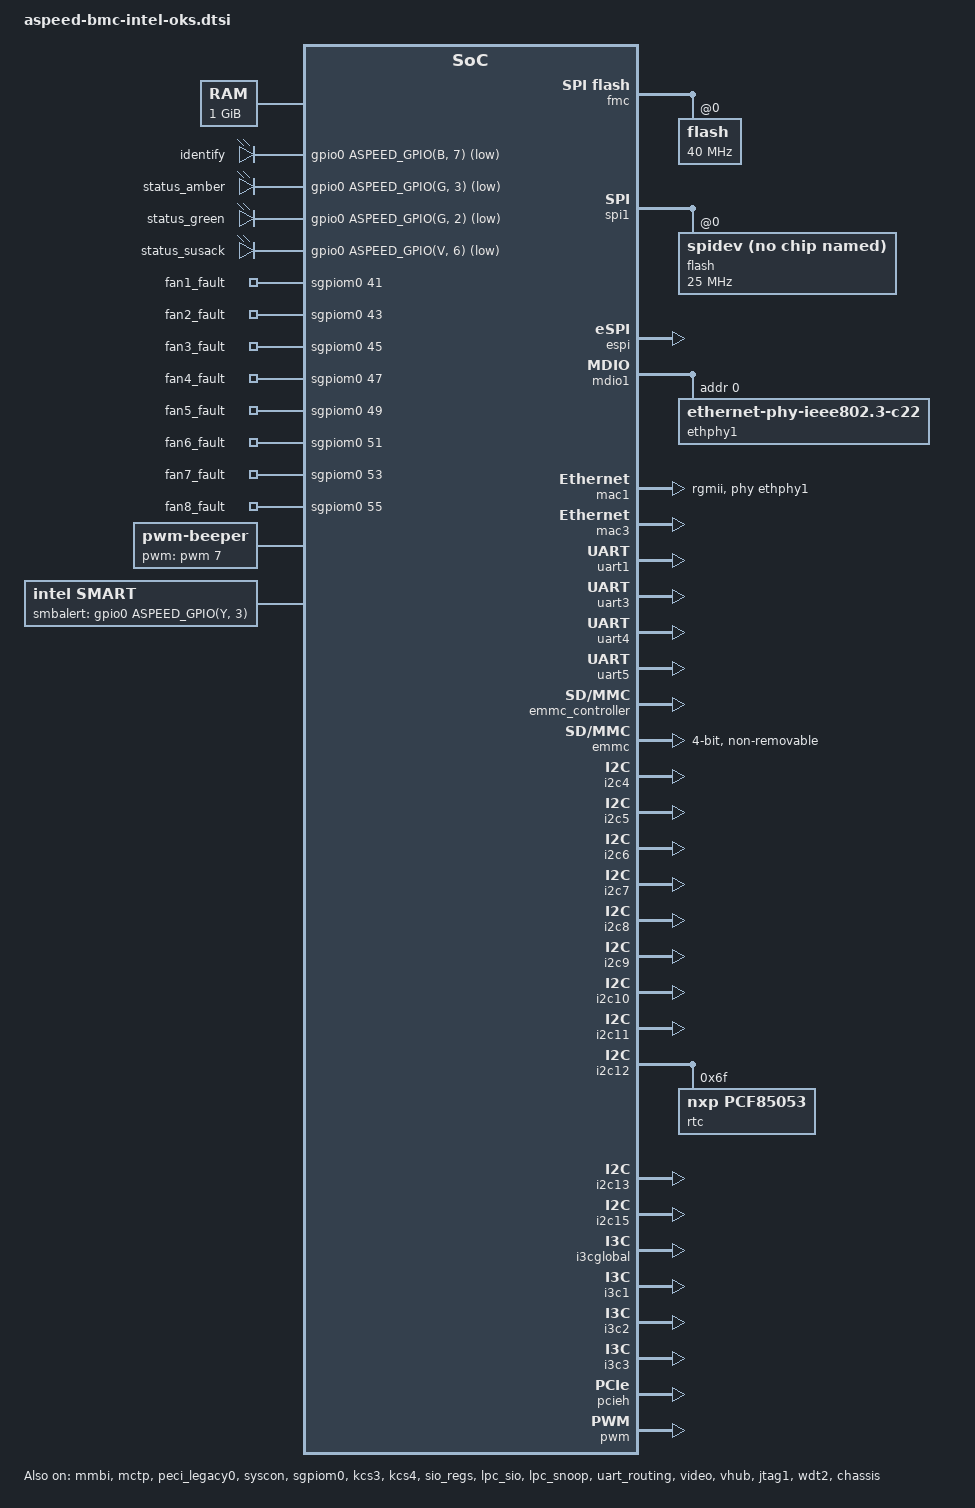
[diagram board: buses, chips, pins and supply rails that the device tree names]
// SPDX-License-Identifier: GPL-2.0+
/dts-v1/;

#include "aspeed-g6.dtsi"
#include <dt-bindings/gpio/aspeed-gpio.h>
#include <dt-bindings/i2c/i2c.h>

/ {
	chosen {
		stdout-path = &uart5;
		bootargs = "console=ttyS4,115200n8 root=/dev/ram rw init=/linuxrc earlyprintk";
	};

	memory@80000000 {
		device_type = "memory";
		reg = <0x80000000 0x40000000>;
	};

	reserved-memory {
		#address-cells = <1>;
		#size-cells = <1>;
		ranges;

		video_engine_memory: jpegbuffer {
			size = <0x02000000>;	/* 32M */
			alignment = <0x01000000>;
			compatible = "shared-dma-pool";
			reusable;
		};

		video_memory: video {
			size = <0x04000000>;
			alignment = <0x01000000>;
			compatible = "shared-dma-pool";
			no-map;
		};

		espi_mmbi_memory: espi_mmbi_memory {
			no-map;
			reg = <0x9EFF0000 0x10000>; /* 64K */
		};
	};

	vga-shared-memory {
		compatible = "aspeed,ast2500-vga-sharedmem";
		reg = <0x9f700000 0x100000>;
	};

	leds {
		compatible = "gpio-leds";

		identify {
			default-state = "off";
			gpios = <&gpio0 ASPEED_GPIO(B, 7) GPIO_ACTIVE_LOW>;
		};

		status_amber {
			default-state = "off";
			gpios = <&gpio0 ASPEED_GPIO(G, 3) GPIO_ACTIVE_LOW>;
		};

		status_green {
			default-state = "keep";
			gpios = <&gpio0 ASPEED_GPIO(G, 2) GPIO_ACTIVE_LOW>;
		};

		status_susack {
			default-state = "off";
			gpios = <&gpio0 ASPEED_GPIO(V, 6) GPIO_ACTIVE_LOW>;
		};

		fan1_fault {
			default-state = "off";
			gpios = <&sgpiom0 41 GPIO_ACTIVE_HIGH>;
		};

		fan2_fault {
			default-state = "off";
			gpios = <&sgpiom0 43 GPIO_ACTIVE_HIGH>;
		};

		fan3_fault {
			default-state = "off";
			gpios = <&sgpiom0 45 GPIO_ACTIVE_HIGH>;
		};

		fan4_fault {
			default-state = "off";
			gpios = <&sgpiom0 47 GPIO_ACTIVE_HIGH>;
		};

		fan5_fault {
			default-state = "off";
			gpios = <&sgpiom0 49 GPIO_ACTIVE_HIGH>;
		};

		fan6_fault {
			default-state = "off";
			gpios = <&sgpiom0 51 GPIO_ACTIVE_HIGH>;
		};

		fan7_fault {
			default-state = "off";
			gpios = <&sgpiom0 53 GPIO_ACTIVE_HIGH>;
		};

		fan8_fault {
			default-state = "off";
			gpios = <&sgpiom0 55 GPIO_ACTIVE_HIGH>;
		};
	};

	beeper {
		compatible = "pwm-beeper";
		pwms = <&pwm 7 1000000 0>;
	};

	smart {
		compatible = "intel,smart";
		status = "okay";
		smbalert-gpio = <&gpio0 ASPEED_GPIO(Y, 3) GPIO_ACTIVE_HIGH>;
	};

};

&fmc {
	status = "okay";
	flash@0 {
		status = "okay";
		spi-max-frequency = <40000000>;
		spi-rx-bus-width = <4>;
		spi-tx-bus-width = <4>;
		m25p,fast-read;
#include "openbmc-flash-layout-intel-oks-128MB.dtsi"
	};
};

/* SPI1 controller - BIOS SPI flash */
&spi1 {
	status = "okay";
	flash@0 {
		status = "okay";
		/*
		 * TODO: using BHS limits for possible development on N-1
		 */
		spi-max-frequency = <25000000>; /* 25MHz */
		spi-rx-bus-width = <1>;
		spi-tx-bus-width = <1>;

		/*
		 * It makes an entry in sysfs which will later be
		 * changed to real spi-nor driver on need basis.
		 */
		compatible = "spidev";
	};
};

&espi {
	status = "okay";
};

&vwgpio {
	gpio-count = <32>;
	gpio-names-mask = <0x000001F1>;
	gpio-dir-mask = <0x00000FF0>;
	gpio-names = "VW_FM_BIOS_POST_CMPLT_N",
		"VW_FM_DUAL_PARTITION_N", "VW_FM_STANDALONE_MODE_N",
		"VW_FM_4S_8S_N_MODE", "VW_FM_NODE_ID_1", "VW_FM_NODE_ID_0";
	status = "okay";
};

&mmbi {
	status = "okay";

	host-map-addr = <0xF6810000>;
	memory-region = <&espi_mmbi_memory>;
};

&mctp {
	status = "okay";
};

&peci_legacy0 {
	status = "okay";
};

&syscon {
	status = "okay";

	mac1-clk-delay = <0x1f 0x10
			  0x10 0x10
			  0x10 0x10>;

	misc_control {
		compatible = "aspeed,bmc-misc";
		uart_port_debug {
			offset = <0xc8>;
			bit-mask = <0x1>;
			bit-shift = <1>;
			read-only;
		};

		uart1_port_debug {
			offset = <0xd8>;
			bit-mask = <0x1>;
			bit-shift = <3>;
			read-only;
		};

		p2a-bridge {
			offset = <0xC20>;
			bit-mask = <0x1>;
			bit-shift = <1>;
			read-only;
		};

		boot-2nd-flash {
			offset = <0x500>;
			bit-mask = <0x1>;
			bit-shift = <31>;
			read-only;
		};

		chip_id {
			offset = <0x5b0>;
			bit-mask = <0xffffffff 0xffffffff>;
			bit-shift = <0>;
			read-only;
			reg-width = <64>;
			hash-data = "d44f9b804976fa23c2e25d62f16154d26520a7e24c5555095fd1b55c027804f1570dcd16189739c640cd7d9a6ce14944a2c4eaf1dc429eed6940e8a83498a474";
		};

		silicon_id {
			offset = <0x14>;
			bit-mask = <0xffffffff>;
			bit-shift = <0>;
			read-only;
			reg-width = <32>;
		};
	};
};

#if 0
 GPIO Alias: (runtime alias -> schematic name)
	ID_BUTTON -> FP_ID_BTN_N
	CPU_CATERR -> FM_CPU_CATERR_N
	PCH_BMC_THERMTRIP -> FM_PLT_BMC_THERMTRIP_N
	RESET_BUTTON -> FP_BMC_RST_BTN_N
	RESET_OUT -> RST_BMC_RSTBTN_OUT_R_N
	POWER_BUTTON -> FP_PWR_BTN_N
	POWER_OUT -> FM_BMC_PWR_BTN_N
	PREQ_N -> DBP_ASD_BMC_PREQ_R_N
	POST_COMPLETE -> FM_BIOS_POST_CMPLT_BMC_N
	CPU_ERR0 -> FM_CPU0_ERR0_LVC3_N
	CPU_ERR1 -> FM_CPU0_ERR1_LVC3_N
	CPU_ERR2 -> FM_CPU0_ERR2_LVC3_N
	DEBUG_EN_N -> FM_JTAG_TCK_MUX_SEL_R
	PLTRST_N -> RST_PLTRST_BMC_N
	PRDY_N -> DBP_ASD_BMC_PRDY_R_N
	PWR_DEBUG_N ->
	XDP_PRST_N ->
	SYSPWROK ->
	RSMRST_N ->
	SIO_S3 -> FM_SLPS3_R_N
	SIO_S5 -> FM_SLPS4_R_N
	SIO_ONCONTROL -> FM_BMC_ONCTL_R_N
	SIO_POWER_GOOD -> PWRGD_CPU0_LVC3_R
	PS_PWROK -> PWRGD_BMC_PS_PWROK_R
	P3VBAT_BRIDGE_EN ->
	TCK_MUX_SEL ->
	NMI_BUTTON -> FP_NMI_BTN_N
#endif
&gpio0 {
	status = "okay";
	gpio-line-names =
	/*A0-A7*/	"","","","","SMB_CPU_PIROM_SCL","SMB_CPU_PIROM_SDA","SMB_IPMB_STBY_LVC3_SCL","SMB_IPMB_STBY_LVC3_SDA",
	/*B0-B7*/	"","","","FM_CPU1_ERR2_LVT3_N","RGMII_BMC_RMM4_LVC3_R_MDC","RGMII_BMC_RMM4_LVC3_R_MDIO","FM_BMC_BMCINIT_R","FP_ID_LED_N",
	/*C0-C7*/	"FM_FORCE_BMC_UPDATE_N","RST_RGMII_PHYRST_N","FM_TPM_EN_PULSE","","","","FM_CPU1_ERR0_LVT3_N","FM_CPU1_ERR1_LVT3_N",
	/*D0-D7*/	"CPU_ERR0","CPU_ERR1","CPU_ERR2","PRDY_N","FM_SPD_SWITCH_CTRL_N","","","",
	/*E0-E7*/	"FM_SKT1_FAULT_LED","FM_SKT0_FAULT_LED","CLK_50M_CKMNG_BMCB","ID_BUTTON","","","","",
	/*F0-F7*/	"","FM_DUAL_PARTITION_MODE_N","FM_STANDALONE_MODE_N","FM_4S_8S_N_MODE","FM_NODE_ID0","FM_NODE_ID1","","",
	/*G0-G7*/	"FM_SMB_BMC_NVME_LVC3_ALERT_N","RST_BMC_HSBP_MUX_N","FP_LED_STATUS_GREEN_N","FP_LED_STATUS_AMBER_N","PS_PWROK","FM_PARTITION_SEL","FM_BMC_CPU_FBRK_OUT_R_N","DBP_PRESENT_IN_R2_N",
	/*H0-H7*/	"SGPIO_BMC_CLK_R","SGPIO_BMC_LD_R","SGPIO_BMC_DOUT_R","SGPIO_BMC_DIN","PLTRST_N","CPU_CATERR","","",
	/*I0-I7*/	"","JTAG_ASD_TDI_R","JTAG_ASD_TCK_R","JTAG_ASD_TMS_R","JTAG_ASD_TDO","FM_BMC_PWRBTN_OUT_R_N","FM_BMC_PWR_BTN_N","",
	/*J0-J7*/	"","","","","","","","",
	/*K0-K7*/	"","","","","","","","",
	/*L0-L7*/	"","","","","PREQ_N","TCK_MUX_SEL","","",
	/*M0-M7*/	"","","","","","","SPA_SOUT","SPA_SIN",
	/*N0-N7*/	"","","","","","","SPB_SOUT","SPB_SIN",
	/*O0-O7*/	"","","","","","","NMI_BUTTON","SPEAKER_BMC_R",
	/*P0-P7*/	"RESET_BUTTON","RESET_OUT","POWER_BUTTON","POWER_OUT","","","","LED_BMC_HB_LED_N",
	/*Q0-Q7*/	"","","","","","","","",
	/*R0-R7*/	"","","","","","","","",
	/*S0-S7*/	"RST_BMC_PCIE_MUX_N","FM_BMC_TRUST_N","FM_BMC_FRU_WP_N","","PWRGD_CPU0_AUXPWRGD","A_P3V_BAT_SCALED_EN","REMOTE_DEBUG_ENABLE","",
	/*T0-T7*/	"","","","","","","","",
	/*U0-U7*/	"","","","","","","","",
	/*V0-V7*/	"SIO_S3","SIO_S5","","SIO_ONCONTROL","SIO_POWER_GOOD","","","",
	/*W0-W7*/	"LPC_LAD0_ESPI_R_IO0","LPC_LAD1_ESPI_R_IO1","LPC_LAD2_ESPI_R_IO2","LPC_LAD3_ESPI_R_IO3","CLK_24M_66M_LPC0_ESPI_BMC","LPC_LFRAME_N_ESPI_CS0_BMC_N","IRQ_LPC_SERIRQ_ESPI_ALERT_N","RST_LPC_LRST_ESPI_RST_BMC_R_N",
	/*X0-X7*/	"","","PCH_BMC_THERMTRIP","","","","","",
	/*Y0-Y7*/	"FM_BMC_CMOS_CLR_R_N","","FM_BMC_SAFS_EN","IRQ_SML1_PMBUS_BMC_ALERT_N","SPI_BMC_BOOT_R_IO2","SPI_BMC_BOOT_R_IO3","PU_SPI_BMC_BOOT_ABR","PU_SPI_BMC_BOOT_WP_N",
	/*Z0-Z7*/	"","","","HW_STRAP_5","HW_STRAP_6","HW_STRAP_7","HW_STRAP_2","HW_STRAP_3";

};

&gpio1 {
	status = "okay";
	gpio-line-names = /* GPIO18 A-E */
	/*A0-A7*/	"","","RST_EMMC_BMC_R_N","","","","","",
	/*B0-B7*/	"","","","","RGMII_BMC_RMM4_TX_R_CLK","RGMII_BMC_RMM4_TX_R_CTRL","RGMII_BMC_RMM4_R_TXD0","RGMII_BMC_RMM4_R_TXD1",
	/*C0-C7*/	"RGMII_BMC_RMM4_R_TXD2","RGMII_BMC_RMM4_R_TXD3","RGMII_BMC_RMM4_RX_CLK","RGMII_BMC_RMM4_RX_CTRL","RGMII_BMC_RMM4_RXD0","RGMII_BMC_RMM4_RXD1","RGMII_BMC_RMM4_RXD2","RGMII_BMC_RMM4_RXD3",
	/*D0-D7*/	"EMMC_BMC_R_CLK","EMMC_BMC_R_CMD","EMMC_BMC_R_DATA0","EMMC_BMC_R_DATA1","EMMC_BMC_R_DATA2","EMMC_BMC_R_DATA3","EMMC_BMC_CD_N","EMMC_BMC_WP_N",
	/*E0-E3*/	"EMMC_BMC_R_DATA4","EMMC_BMC_R_DATA5","EMMC_BMC_R_DATA6","EMMC_BMC_R_DATA7";
};

&sgpiom0 {
	ngpios = <128>;
	bus-frequency = <2000000>;
	status = "okay";
#if 0
 SGPIO Alias: (runtime alias -> net name)
	CPU1_PRESENCE -> FM_CPU0_SKTOCC_LVT3_N
	CPU1_THERMTRIP -> H_CPU0_THERMTRIP_LVC1_N
	CPU1_VRHOT -> IRQ_CPU0_VRHOT_N
	CPU1_MEM_VRHOT -> IRQ_CPU0_MEM_VRHOT_N
	CPU1_MEM_THERM_EVENT -> H_CPU0_MEMHOT_OUT_LVC1_N
	CPU1_MISMATCH -> FM_CPU0_MISMATCH
	CPU2_PRESENCE -> FM_CPU1_SKTOCC_LVT3_N
	CPU2_THERMTRIP -> H_CPU1_THERMTRIP_LVC1_N
	CPU2_VRHOT -> IRQ_CPU1_VRHOT_N
	CPU2_MEM_VRHOT -> IRQ_CPU1_MEM_VRHOT_N
	CPU2_MEM_THERM_EVENT -> H_CPU1_MEMHOT_OUT_LVC1_N
	CPU2_MISMATCH -> FM_CPU1_MISMATCH
#endif
	/* SGPIO lines. even: input, odd: output */
	gpio-line-names =
	/*A, 0-7*/	"CPU1_PRESENCE","","CPU1_THERMTRIP","","CPU1_VRHOT","","H_CPU0_MON_FAIL_LVC1_N","","CPU1_MEM_VRHOT","","CPU1_MEM_THERM_EVENT","","FM_CPU0_PROC_ID0","","FM_CPU0_PROC_ID1","",
	/*B, 8-15*/	"CPU1_MISMATCH","LED_CPU1_CH1_DIMM1_FAULT","","LED_CPU1_CH1_DIMM2_FAULT","CPU2_PRESENCE","LED_CPU1_CH2_DIMM1_FAULT","CPU2_THERMTRIP","LED_CPU1_CH2_DIMM2_FAULT","CPU2_VRHOT","LED_CPU1_CH3_DIMM1_FAULT","H_CPU1_MON_FAIL_LVC1_N","LED_CPU1_CH3_DIMM2_FAULT","CPU2_MEM_VRHOT","LED_CPU1_CH4_DIMM1_FAULT","CPU2_MEM_THERM_EVENT","LED_CPU1_CH4_DIMM2_FAULT",
	/*C, 16-23*/	"FM_CPU1_PROC_ID0","LED_CPU1_CH5_DIMM1_FAULT","FM_CPU1_PROC_ID1","LED_CPU1_CH5_DIMM2_FAULT","CPU2_MISMATCH","LED_CPU1_CH6_DIMM1_FAULT","","LED_CPU1_CH6_DIMM2_FAULT","","LED_FAN1_FAULT","","LED_FAN2_FAULT","","LED_FAN3_FAULT","","LED_FAN4_FAULT",
	/*D, 24-31*/	"","LED_FAN5_FAULT","","LED_FAN6_FAULT","","LED_FAN7_FAULT","","LED_FAN8_FAULT","","LED_CPU2_CH1_DIMM1_FAULT","","LED_CPU2_CH1_DIMM2_FAULT","","LED_CPU2_CH2_DIMM1_FAULT","","LED_CPU2_CH2_DIMM2_FAULT",
	/*E, 32-39*/	"","LED_CPU2_CH3_DIMM1_FAULT","","LED_CPU2_CH3_DIMM2_FAULT","","LED_CPU2_CH4_DIMM1_FAULT","","LED_CPU2_CH4_DIMM2_FAULT","","LED_CPU2_CH5_DIMM1_FAULT","","LED_CPU2_CH5_DIMM2_FAULT","","LED_CPU2_CH6_DIMM1_FAULT","CPU1_CPLD_CRC_ERROR","LED_CPU2_CH6_DIMM2_FAULT",
	/*F, 40-47*/	"CPU2_CPLD_CRC_ERROR","","CPU1_CATERR_IERR","","CPU1_CATERR_MCERR","","CPU2_CATERR_IERR","","CPU2_CATERR_MCERR","","","","","","","",
	/*G, 48-55*/	"MAIN_PLD_MINOR_REV_BIT0","","MAIN_PLD_MINOR_REV_BIT1","","MAIN_PLD_MINOR_REV_BIT2","","MAIN_PLD_MINOR_REV_BIT3","","MAIN_PLD_MAJOR_REV_BIT0","","MAIN_PLD_MAJOR_REV_BIT1","","MAIN_PLD_MAJOR_REV_BIT2","","MAIN_PLD_MAJOR_REV_BIT3","",
	/*H, 56-63*/	"","","WMEMX_PWR_FLT","","WCPUX_MEM_PWR_FLT","","PWRGD_P3V3_FF","","WPSU_PWR_FLT","","","","","","WPCH_PWR_FLT","",
	/*I, 64-71*/	"FM_CPU0_PKGID0","LED_CPU1_CH7_DIMM1_FAULT","FM_CPU0_PKGID1","LED_CPU1_CH7_DIMM2_FAULT","FM_CPU0_PKGID2","LED_CPU1_CH8_DIMM1_FAULT","H_CPU0_MEMTRIP_LVC1_N","LED_CPU1_CH8_DIMM2_FAULT","FM_CPU1_PKGID0","LED_CPU2_CH7_DIMM1_FAULT","FM_CPU1_PKGID1","LED_CPU2_CH7_DIMM2_FAULT","FM_CPU1_PKGID2","LED_CPU2_CH8_DIMM1_FAULT","H_CPU1_MEMTRIP_LVC1_N","LED_CPU2_CH8_DIMM2_FAULT",
	/*J, 72-79*/	"","","","","","","","","","","","","","","","",
	/*K, 80-87*/	"FM_BOARD_REV_ID0","LED_CPU0_CH9_DIMM1_FAULT","FM_BOARD_REV_ID1","LED_CPU0_CH9_DIMM2_FAULT","FM_BOARD_REV_ID2","LED_CPU0_CH10_DIMM1_FAULT","FM_BOARD_SKU_ID0","LED_CPU0_CH10_DIMM2_FAULT","FM_BOARD_SKU_ID1","LED_CPU0_CH11_DIMM1_FAULT","FM_BOARD_SKU_ID2","LED_CPU0_CH11_DIMM2_FAULT","FM_BOARD_SKU_ID3","LED_CPU0_CH12_DIMM1_FAULT","FM_BOARD_SKU_ID4","LED_CPU0_CH12_DIMM2_FAULT",
	/*L, 88-95*/	"FM_BOARD_SKU_ID5","LED_CPU1_CH9_DIMM1_FAULT","FM_BMC_VAL_EN","LED_CPU1_CH9_DIMM2_FAULT","FM_SERIAL_BOOT","LED_CPU1_CH10_DIMM1_FAULT","","LED_CPU1_CH10_DIMM2_FAULT","S0_PWROK","LED_CPU1_CH11_DIMM1_FAULT","","LED_CPU1_CH11_DIMM2_FAULT","","LED_CPU1_CH12_DIMM1_FAULT","","LED_CPU1_CH12_DIMM1_FAULT",
	/*M, 96-103*/	"","FM_SURPRISE_RESET_N","","FM_CPU1_INTR_CLK_CONFDONE_N","","FM_GLOBAL_RESET_N","FM_1200VA_OC","BMC_BOOT_DONE","","IRQ_BMC_CPU_NMI_P0","","IRQ_BMC_CPU_NMI_P1","","","","",
	/*N, 104-111*/	"","","","","","","","","","","","","","","","",
	/*O, 112-119*/	"R1S_PRESENCE","","","","","","","","","","","","","","","",
	/*P, 120-127*/	"","","","","","","","","","","","","","","","";
};

&kcs3 {
	aspeed,lpc-io-reg = <0xCA2>;
	status = "okay";
};

&kcs4 {
	aspeed,lpc-io-reg = <0xCA4>;
	status = "okay";
};

&sio_regs {
	status = "okay";
	sio_status {
		offset = <0x10C>;
		bit-mask = <0x1F>;
		bit-shift = <4>;
	};
	sio29_status {
		offset = <0x170>;
		bit-mask = <0xFF>;
		bit-shift = <8>;
	};
};

&lpc_sio {
	status = "okay";
};

&lpc_snoop {
	snoop-ports = <0x80>;
	status = "okay";
};

&mbox {
	status = "okay";
};

&mdio1 {
	status = "okay";

	ethphy1: ethernet-phy@0 {
		compatible = "ethernet-phy-ieee802.3-c22";
		reg = <0>;
	};
};

&mac1 {
	status = "okay";
	pinctrl-names = "default";
	pinctrl-0 = <&pinctrl_rgmii2_default>;
	clocks = <&syscon ASPEED_CLK_GATE_MAC2CLK>,
		 <&syscon ASPEED_CLK_MAC2RCLK>;
	clock-names = "MACCLK", "RCLK";
	phy-mode = "rgmii";
	phy-handle = <&ethphy1>;
};

&mac3 {
	status = "okay";
	use-ncsi;
	pinctrl-names = "default";
	pinctrl-0 = <&pinctrl_rmii4_default>;
	clocks = <&syscon ASPEED_CLK_GATE_MAC4CLK>,
		 <&syscon ASPEED_CLK_MAC4RCLK>;
	clock-names = "MACCLK", "RCLK";
};

&uart1 {
	/* Only host uses this via SUART but must be enabled in BMC devicetree
	 * to prevent clock gating.
	 */
	status = "okay";
};

&uart3 {
	status = "okay";
	/* We don't use IO3 - this is routed to UART1 */
	pinctrl-0 = <>;
};

&uart4 {
	status = "okay";
	/* We don't use IO4 - this is routed to IO1 */
	pinctrl-0 = <>;
};

&uart5 {
	status = "okay";
};

&uart_routing {
	status = "okay";
};

&emmc_controller{
	status = "okay";
};

&emmc {
	non-removable;
	bus-width = <4>;
	max-frequency = <52000000>;
};

&i2c4 {
	/* SMB_HSBP_STBY_LVC3_R */
	multi-master;
	aspeed,hw-timeout-ms = <300>;
	status = "okay";
};

&i2c5 {
	/* SMB_PMBUS2_STBY_LVC3 */
	multi-master;
	aspeed,hw-timeout-ms = <300>;
	#retries = <3>;
	status = "okay";
};

&i2c6 {
	/* SMB_TEMPSENSOR_STBY_LVC3_R */
	multi-master;
	aspeed,hw-timeout-ms = <300>;
	status = "okay";
};

&i2c7 {
	/* SMB_PMBUS_SML1_STBY_LVC3_R */
	multi-master;
	#retries = <3>;
	aspeed,hw-timeout-ms = <300>;
	status = "okay";
};

&i2c8 {
	/* SMB_HOST_STBY_BMC */
	multi-master;
	aspeed,hw-timeout-ms = <300>;
	status = "okay";
};

&i2c9 {
	/* SMB_PCIE_STBY_LVC3 */
	multi-master;
	aspeed,hw-timeout-ms = <300>;
	status = "okay";
};

&i2c10 {
	/* SMB_BMC_SCM_LVC3 */
	status = "okay";
};

&i2c11 {
	/* SMB_CHASSIS_SENSOR_STBY_LVC3 */
	status = "okay";
};

&i2c12 {
	/* SMB_CPU_PIROM */
	multi-master;
	aspeed,hw-timeout-ms = <300>;
	status = "okay";

	rtc@6f {
		compatible = "nxp,pcf85053";
		reg = <0x6f>;
	};
};

&i2c13 {
	/* SMB_IPMB_STBY_LVC3_R */
	multi-master;
	aspeed,hw-timeout-ms = <300>;
	status = "okay";
};

&i2c15 {
	/* SMB_CPLD_UPDATE_BMC_LVC3 */
	status = "okay";
};

&i3cglobal {
	status = "okay";
};

&i3c1 {
	/* I3C_PFR_BMC */
	status = "okay";
	initial-role = "target";
	target-read-timeout = <100>;
	dcr = <0xCC>;
	pid = <0x020a 0x0000000b>;
};

&i3c2 {
	/* I3C_MNG_LVC18 */
	status = "okay";
	is-mng;
	i3c-scl-hz = <6670000>;
	i3c-pp-scl-high-ns = <60>;
	i2c-scl-hz = <400000>;
	i3c-od-scl-high-ns = <1000>;
	sda-tx-hold-ns = <40>;
};

&i3c3 {
	/* I3C_SPD_BMC */
	status = "okay";
	i3c-scl-hz = <8330000>;
	i3c-pp-scl-high-ns = <50>;
	i2c-scl-hz = <1000000>;
	i3c-od-scl-high-ns = <400>;
	sda-tx-hold-ns = <30>;
	jdec-spd;
};

&i3c4 {
	/* I3C_DEBUG_STBY_LVC18 */
	status = "disabled";
	i3c-scl-hz = <3000000>;
};

&i3c5 {
	/* I3C_PCIE_BMC_LVC18 */
	status = "disabled";
	i3c-scl-hz = <1000000>;
};

&pcieh {
	status = "okay";
};

&pwm {
	status = "okay";
	pinctrl-names = "default";
	pinctrl-0 = <&pinctrl_pwm7_default>;
};

&video {
	status = "okay";
	memory-region = <&video_engine_memory>;
};

&vhub {
	status = "okay";
};

&jtag1 {
	status = "okay";
};

&wdt2 {
	status = "okay";
};

&chassis {
	status = "okay";
};
